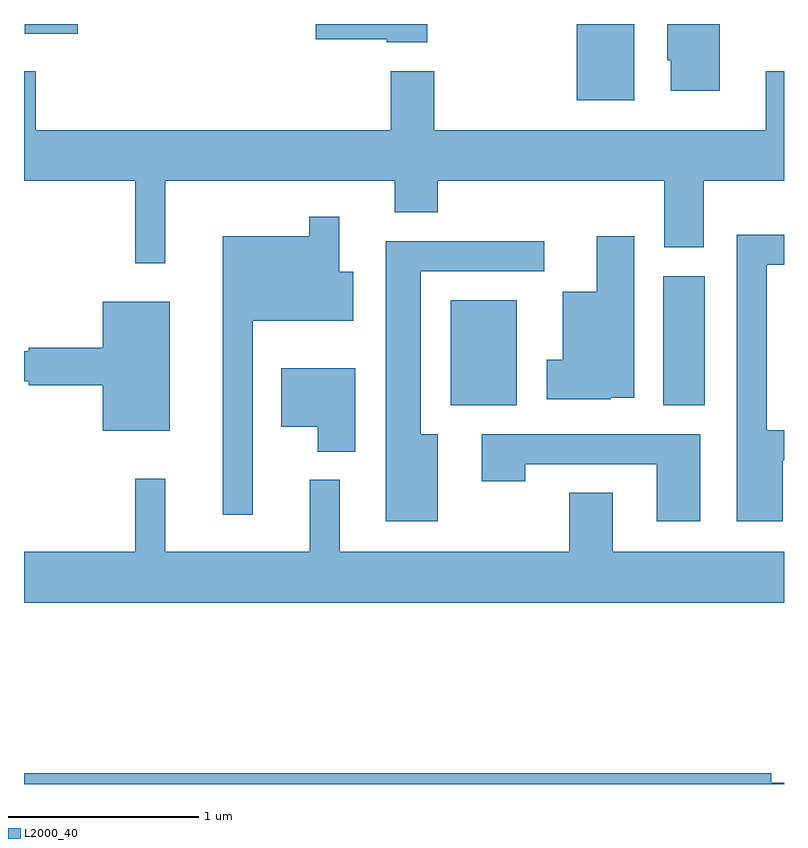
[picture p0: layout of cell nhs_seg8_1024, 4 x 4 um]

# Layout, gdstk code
import gdstk
lib = gdstk.Library(unit=1e-6, precision=1e-09)
def R(c, l, rs):  # rectangles x0, y0, x1, y1
    for r in rs: c.add(gdstk.rectangle(r[:2], r[2:], *l))
def P(c, l, *ps):  # polygons
    for p in ps: c.add(gdstk.Polygon(p, *l))
L2000_40 = (2000, 40)

nhs_seg8_1024 = lib.new_cell('nhs_seg8_1024')
R(nhs_seg8_1024, L2000_40, [(217.856,1846.336,218.204,1846.889), (218.976,1846.336,219.194,1847.014), (218.521,1847.941,218.824,1848.342), (215.616,1848.291,215.894,1848.342)])
P(nhs_seg8_1024, L2000_40, [(219.274,1848.342),(218.996,1848.342),(218.996,1848.151),(219.016,1848.151),(219.016,1847.991),(219.274,1847.991)],
  [(217.734,1848.342),(217.146,1848.342),(217.146,1848.261),(217.52,1848.261),(217.52,1848.246),(217.734,1848.246)],
  [(216.354,1847.516),(217.561,1847.516),(217.561,1847.351),(217.789,1847.351),(217.789,1847.516),(218.981,1847.516),(218.981,1847.166),(219.189,1847.166),(219.189,1847.516),(219.611,1847.516),(219.611,1848.094),(219.516,1848.094),(219.516,1847.784),(217.769,1847.784),(217.769,1848.094),(217.541,1848.094),(217.541,1847.784),(215.674,1847.784),(215.674,1848.094),(215.611,1848.094),(215.611,1847.516),(216.196,1847.516),(216.196,1847.083),(216.354,1847.083)],
  [(216.814,1846.781),(217.344,1846.781),(217.344,1847.039),(217.269,1847.039),(217.269,1847.328),(217.111,1847.328),(217.111,1847.224),(216.656,1847.224),(216.656,1845.758),(216.814,1845.758)],
  [(219.604,1846.046),(219.611,1846.046),(219.611,1846.204),(219.519,1846.204),(219.519,1847.076),(219.611,1847.076),(219.611,1847.234),(219.361,1847.234),(219.361,1845.726),(219.604,1845.726)],
  [(218.7,1846.376),(218.824,1846.376),(218.824,1847.224),(218.626,1847.224),(218.626,1846.934),(218.446,1846.934),(218.446,1846.574),(218.361,1846.574),(218.361,1846.366),(218.7,1846.366)],
  [(217.789,1846.184),(217.699,1846.184),(217.699,1847.041),(218.348,1847.041),(218.348,1847.199),(217.516,1847.199),(217.516,1845.726),(217.789,1845.726)],
  [(216.379,1846.879),(216.026,1846.879),(216.026,1846.639),(215.636,1846.639),(215.636,1846.619),(215.611,1846.619),(215.611,1846.461),(215.636,1846.461),(215.636,1846.441),(216.026,1846.441),(216.026,1846.201),(216.379,1846.201)],
  [(217.354,1846.529),(216.966,1846.529),(216.966,1846.221),(217.156,1846.221),(217.156,1846.091),(217.354,1846.091)],
  [(219.169,1846.184),(218.021,1846.184),(218.021,1845.936),(218.249,1845.936),(218.249,1846.026),(218.941,1846.026),(218.941,1845.726),(219.169,1845.726)],
  [(219.611,1845.564),(218.709,1845.564),(218.709,1845.874),(218.481,1845.874),(218.481,1845.564),(217.274,1845.564),(217.274,1845.943),(217.116,1845.943),(217.116,1845.564),(216.354,1845.564),(216.354,1845.948),(216.196,1845.948),(216.196,1845.564),(215.611,1845.564),(215.611,1845.296),(219.611,1845.296)],
  [(219.611,1844.349),(219.544,1844.349),(219.544,1844.399),(215.611,1844.399),(215.611,1844.342),(219.611,1844.342)])

lib.write_gds('nhs_seg8_1024.gds')
